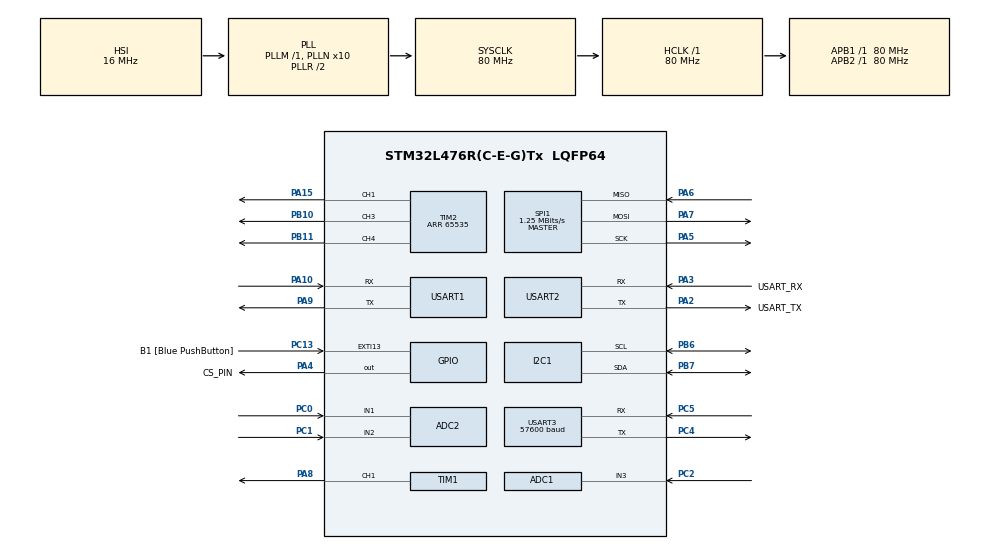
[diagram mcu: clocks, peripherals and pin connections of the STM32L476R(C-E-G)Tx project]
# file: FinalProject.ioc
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ADC1.Channel-0\#ChannelRegularConversion=ADC_CHANNEL_3
ADC1.ClockPrescaler=ADC_CLOCK_ASYNC_DIV256
ADC1.ContinuousConvMode=ENABLE
ADC1.DMAContinuousRequests=ENABLE
ADC1.NbrOfConversionFlag=1
ADC1.OffsetNumber-0\#ChannelRegularConversion=ADC_OFFSET_NONE
ADC1.Overrun=ADC_OVR_DATA_OVERWRITTEN
ADC1.Rank-0\#ChannelRegularConversion=1
ADC1.SamplingTime-0\#ChannelRegularConversion=ADC_SAMPLETIME_2CYCLES_5
ADC1.master=1
ADC2.Channel-0\#ChannelRegularConversion=ADC_CHANNEL_1
ADC2.ClockPrescaler=ADC_CLOCK_ASYNC_DIV256
ADC2.ContinuousConvMode=ENABLE
ADC2.DMAContinuousRequests=ENABLE
ADC2.NbrOfConversionFlag=1
ADC2.OffsetNumber-0\#ChannelRegularConversion=ADC_OFFSET_NONE
ADC2.Overrun=ADC_OVR_DATA_OVERWRITTEN
ADC2.Rank-0\#ChannelRegularConversion=1
ADC2.SamplingTime-0\#ChannelRegularConversion=ADC_SAMPLETIME_2CYCLES_5
ADC2.SingleDiff-0\#ChannelRegularConversion=ADC_DIFFERENTIAL_ENDED
Dma.ADC1.3.Direction=DMA_PERIPH_TO_MEMORY
Dma.ADC1.3.Instance=DMA1_Channel1
Dma.ADC1.3.MemDataAlignment=DMA_MDATAALIGN_HALFWORD
Dma.ADC1.3.MemInc=DMA_MINC_ENABLE
Dma.ADC1.3.Mode=DMA_CIRCULAR
Dma.ADC1.3.PeriphDataAlignment=DMA_PDATAALIGN_HALFWORD
Dma.ADC1.3.PeriphInc=DMA_PINC_DISABLE
Dma.ADC1.3.Priority=DMA_PRIORITY_LOW
Dma.ADC2.2.Direction=DMA_PERIPH_TO_MEMORY
Dma.ADC2.2.Instance=DMA1_Channel2
Dma.ADC2.2.MemDataAlignment=DMA_MDATAALIGN_HALFWORD
Dma.ADC2.2.MemInc=DMA_MINC_ENABLE
Dma.ADC2.2.Mode=DMA_CIRCULAR
Dma.ADC2.2.PeriphDataAlignment=DMA_PDATAALIGN_HALFWORD
Dma.ADC2.2.PeriphInc=DMA_PINC_DISABLE
Dma.ADC2.2.Priority=DMA_PRIORITY_LOW
Dma.Request0=USART1_RX
Dma.Request1=USART3_RX
Dma.Request2=ADC2
Dma.Request3=ADC1
Dma.USART1_RX.0.Direction=DMA_PERIPH_TO_MEMORY
Dma.USART1_RX.0.Instance=DMA1_Channel5
Dma.USART1_RX.0.MemDataAlignment=DMA_MDATAALIGN_BYTE
Dma.USART1_RX.0.MemInc=DMA_MINC_ENABLE
Dma.USART1_RX.0.Mode=DMA_NORMAL
Dma.USART1_RX.0.PeriphDataAlignment=DMA_PDATAALIGN_BYTE
Dma.USART1_RX.0.PeriphInc=DMA_PINC_DISABLE
Dma.USART1_RX.0.Priority=DMA_PRIORITY_LOW
Dma.USART3_RX.1.Direction=DMA_PERIPH_TO_MEMORY
Dma.USART3_RX.1.Instance=DMA1_Channel3
Dma.USART3_RX.1.MemDataAlignment=DMA_MDATAALIGN_BYTE
Dma.USART3_RX.1.MemInc=DMA_MINC_ENABLE
Dma.USART3_RX.1.Mode=DMA_NORMAL
Dma.USART3_RX.1.PeriphDataAlignment=DMA_PDATAALIGN_BYTE
Dma.USART3_RX.1.PeriphInc=DMA_PINC_DISABLE
Dma.USART3_RX.1.Priority=DMA_PRIORITY_LOW
I2C1.Timing=0x10909CEC
Mcu.Family=STM32L4
Mcu.Name=STM32L476R(C-E-G)Tx
Mcu.Package=LQFP64
NVIC.ADC1_2_IRQn=true\:0\:0\:false\:false\:true\:true\:true\:true
NVIC.DMA1_Channel1_IRQn=true\:0\:0\:false\:false\:true\:false\:true\:true
NVIC.DMA1_Channel2_IRQn=true\:0\:0\:false\:false\:true\:false\:true\:true
NVIC.DMA1_Channel3_IRQn=true\:0\:0\:false\:false\:true\:false\:true\:true
NVIC.DMA1_Channel5_IRQn=true\:0\:0\:false\:false\:true\:false\:true\:true
NVIC.I2C1_ER_IRQn=true\:0\:0\:false\:false\:true\:true\:true\:true
NVIC.I2C1_EV_IRQn=true\:0\:0\:false\:false\:true\:true\:true\:true
NVIC.PriorityGroup=NVIC_PRIORITYGROUP_4
NVIC.SPI1_IRQn=true\:0\:0\:false\:false\:true\:true\:true\:true
NVIC.TIM1_BRK_TIM15_IRQn=true\:0\:0\:false\:false\:true\:true\:true\:true
NVIC.TIM1_UP_TIM16_IRQn=true\:0\:0\:false\:false\:true\:true\:true\:true
NVIC.USART1_IRQn=true\:0\:0\:false\:false\:true\:true\:true\:true
NVIC.USART3_IRQn=true\:0\:0\:false\:false\:true\:true\:true\:true
PA10.Mode=Asynchronous
PA10.Signal=USART1_RX
PA13\ (JTMS-SWDIO).GPIO_Label=TMS
PA13\ (JTMS-SWDIO).Mode=Serial_Wire
PA13\ (JTMS-SWDIO).Signal=SYS_JTMS-SWDIO
PA14\ (JTCK-SWCLK).GPIO_Label=TCK
PA14\ (JTCK-SWCLK).Mode=Serial_Wire
PA14\ (JTCK-SWCLK).Signal=SYS_JTCK-SWCLK
PA15\ (JTDI).Signal=S_TIM2_CH1
PA2.GPIO_Label=USART_TX
PA2.GPIO_Mode=GPIO_MODE_AF_PP
PA2.GPIO_PuPd=GPIO_NOPULL
PA2.GPIO_Speed=GPIO_SPEED_FREQ_VERY_HIGH
PA2.Mode=Asynchronous
PA2.Signal=USART2_TX
PA3.GPIO_Label=USART_RX
PA3.GPIO_Mode=GPIO_MODE_AF_PP
PA3.GPIO_PuPd=GPIO_NOPULL
PA3.GPIO_Speed=GPIO_SPEED_FREQ_VERY_HIGH
PA3.Mode=Asynchronous
PA3.Signal=USART2_RX
PA4.GPIO_Label=CS_PIN
PA4.GPIO_Speed=GPIO_SPEED_FREQ_VERY_HIGH
PA4.PinState=GPIO_PIN_SET
PA4.Signal=GPIO_Output
PA5.Mode=Full_Duplex_Master
PA5.Signal=SPI1_SCK
PA6.Mode=Full_Duplex_Master
PA6.Signal=SPI1_MISO
PA7.Mode=Full_Duplex_Master
PA7.Signal=SPI1_MOSI
PA8.Signal=S_TIM1_CH1
PA9.Mode=Asynchronous
PA9.Signal=USART1_TX
PB10.Signal=S_TIM2_CH3
PB11.Signal=S_TIM2_CH4
PB3\ (JTDO-TRACESWO).GPIO_Label=SWO
PB3\ (JTDO-TRACESWO).Signal=SYS_JTDO-SWO
PB6.Mode=I2C
PB6.Signal=I2C1_SCL
PB7.Mode=I2C
PB7.Signal=I2C1_SDA
PC0.Signal=ADCx_IN1
PC1.Signal=ADCx_IN2
PC13.GPIO_Label=B1 [Blue PushButton]
PC13.GPIO_ModeDefaultEXTI=GPIO_MODE_IT_FALLING
PC13.GPIO_PuPd=GPIO_NOPULL
PC13.Signal=GPXTI13
PC14-OSC32_IN\ (PC14).Mode=LSE-External-Oscillator
PC14-OSC32_IN\ (PC14).Signal=RCC_OSC32_IN
PC15-OSC32_OUT\ (PC15).Mode=LSE-External-Oscillator
PC15-OSC32_OUT\ (PC15).Signal=RCC_OSC32_OUT
PC2.Signal=ADCx_IN3
PC4.Mode=Asynchronous
PC4.Signal=USART3_TX
PC5.Mode=Asynchronous
PC5.Signal=USART3_RX
PH0-OSC_IN\ (PH0).Signal=RCC_OSC_IN
PH1-OSC_OUT\ (PH1).Signal=RCC_OSC_OUT
ProjectManager.HeapSize=0x200
ProjectManager.StackSize=0x400
ProjectManager.TargetToolchain=STM32CubeIDE
RCC.ADCFreq_Value=64000000
RCC.AHBFreq_Value=80000000
RCC.APB1Freq_Value=80000000
RCC.APB1TimFreq_Value=80000000
RCC.APB2Freq_Value=80000000
RCC.APB2TimFreq_Value=80000000
RCC.CortexFreq_Value=80000000
RCC.HCLKFreq_Value=80000000
RCC.HSE_VALUE=8000000
RCC.HSI_VALUE=16000000
RCC.MSI_VALUE=4000000
RCC.PLLN=10
RCC.PLLSourceVirtual=RCC_PLLSOURCE_HSI
RCC.PREFETCH_ENABLE=1
RCC.SYSCLKFreq_VALUE=80000000
RCC.SYSCLKSource=RCC_SYSCLKSOURCE_PLLCLK
RCC.USBFreq_Value=64000000
RCC.VCOOutputFreq_Value=160000000
SH.ADCx_IN1.0=ADC2_IN1,IN1-Differential
SH.ADCx_IN2.0=ADC2_IN2,IN1-Differential
SH.ADCx_IN3.0=ADC1_IN3,IN3-Single-Ended
SH.S_TIM1_CH1.0=TIM1_CH1,PWM Generation1 CH1
SH.S_TIM2_CH1.0=TIM2_CH1,PWM Generation1 CH1
SH.S_TIM2_CH3.0=TIM2_CH3,PWM Generation3 CH3
SH.S_TIM2_CH4.0=TIM2_CH4,PWM Generation4 CH4
SPI1.BaudRatePrescaler=SPI_BAUDRATEPRESCALER_64
SPI1.CalculateBaudRate=1.25 MBits/s
SPI1.DataSize=SPI_DATASIZE_8BIT
SPI1.Direction=SPI_DIRECTION_2LINES
SPI1.Mode=SPI_MODE_MASTER
SPI1.VirtualType=VM_MASTER
TIM1.AutoReloadPreload=TIM_AUTORELOAD_PRELOAD_DISABLE
TIM1.Channel-PWM\ Generation1\ CH1=TIM_CHANNEL_1
TIM1.ClockDivision=TIM_CLOCKDIVISION_DIV2
TIM1.Pulse-PWM\ Generation1\ CH1=32767
TIM2.Channel-PWM\ Generation1\ CH1=TIM_CHANNEL_1
TIM2.Channel-PWM\ Generation3\ CH3=TIM_CHANNEL_3
TIM2.Channel-PWM\ Generation4\ CH4=TIM_CHANNEL_4
TIM2.ClockDivision=TIM_CLOCKDIVISION_DIV2
TIM2.OCPolarity_1=TIM_OCPOLARITY_HIGH
TIM2.OCPolarity_3=TIM_OCPOLARITY_HIGH
TIM2.OCPolarity_4=TIM_OCPOLARITY_HIGH
TIM2.Period=65535
TIM2.Pulse-PWM\ Generation3\ CH3=0
TIM2.Pulse-PWM\ Generation4\ CH4=0
USART1.VirtualMode-Asynchronous=VM_ASYNC
USART1.WordLength=WORDLENGTH_8B
USART2.VirtualMode-Asynchronous=VM_ASYNC
USART3.BaudRate=57600
USART3.VirtualMode-Asynchronous=VM_ASYNC
board=NUCLEO-L476RG

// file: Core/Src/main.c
/* USER CODE BEGIN Header */
/**
  ******************************************************************************
  * @file           : main.c
  * @brief          : Main program body
  ******************************************************************************
  * @attention
  *
  * Copyright (c) 2024 STMicroelectronics.
  * All rights reserved.
  *
  * This software is licensed under terms that can be found in the LICENSE file
  * in the root directory of this software component.
  * If no LICENSE file comes with this software, it is provided AS-IS.
  *
  ******************************************************************************
  */
/* USER CODE END Header */
#include "main.h"

/* USER CODE BEGIN Includes */
#include "stuff.h"
#include "string.h"

#include <stdio.h>
#include <stdint.h>
#include <stdlib.h>
#include <stdarg.h>
#include <math.h>
#include "bme68x.h"

#include <sys/time.h>
#include<time.h>
/* USER CODE END Includes */

/* USER CODE BEGIN PD */
int SAMPLE_COUNT = UINT16_C(30);
#define BUS_TIMEOUT             1000
/* USER CODE END PD */

ADC_HandleTypeDef hadc1;
ADC_HandleTypeDef hadc2;
DMA_HandleTypeDef hdma_adc1;
DMA_HandleTypeDef hdma_adc2;

I2C_HandleTypeDef hi2c1;

SPI_HandleTypeDef hspi1;

TIM_HandleTypeDef htim1;
TIM_HandleTypeDef htim2;

UART_HandleTypeDef huart1;
UART_HandleTypeDef huart2;
UART_HandleTypeDef huart3;
DMA_HandleTypeDef hdma_usart1_rx;
DMA_HandleTypeDef hdma_usart3_rx;

void SystemClock_Config(void);
void PeriphCommonClock_Config(void);
static void MX_GPIO_Init(void);
static void MX_DMA_Init(void);
static void MX_USART2_UART_Init(void);
static void MX_USART1_UART_Init(void);
static void MX_USART3_UART_Init(void);
static void MX_I2C1_Init(void);
static void MX_TIM1_Init(void);
static void MX_TIM2_Init(void);
static void MX_ADC2_Init(void);
static void MX_ADC1_Init(void);
static void MX_SPI1_Init(void);
/* USER CODE BEGIN PFP */

// BT Buffer
#define RxBuffSize 1
uint8_t RxBuff[RxBuffSize];

int buffIsFull = 0;
int buffIsEmpty = 1;

#define buffLen 1024
int buffHead = 0;
int buffTail = 0;

char buffer[buffLen];

int push(char data);
char pop();
void get(char arr[], int num);

// ADC Buffers
#define ADC_BUF_LEN 1
uint16_t adc_buf1[ADC_BUF_LEN];
uint16_t adc_buf2[ADC_BUF_LEN];
double batteryVoltage = 0.0;
double SPVoltage = 0.0;
void checkADCReading();

// SENSOR
#define HIGH_GAS 175000.0 //~21 C - 145000.0  | ~24 - 185000 |  ~29 C - 3000000.0
double avgTemp = 0;
double avgGas = 0;
char chBuffer[256];
uint8_t GTXBuffer[512], GRXBuffer[2048];
static uint8_t dev_addr;
void checkGasReading();

void BME688ForceModeRead();
BME68X_INTF_RET_TYPE SensorAPI_I2Cx_Read(uint8_t subaddress, uint8_t *pBuffer, uint32_t ReadNumbr, void *intf_ptr);
BME68X_INTF_RET_TYPE SensorAPI_I2Cx_Write(uint8_t subaddress, uint8_t *pBuffer, uint32_t WriteNumbr, void *intf_ptr);
void DelayUs(uint32_t Delay);
void bme68x_delay_us(uint32_t period, void *intf_ptr);

// PWM
void setDC(TIM_HandleTypeDef *handle, uint8_t CH, uint16_t dc);
void setPeriod(TIM_HandleTypeDef *handle, uint8_t CH, uint16_t period);

// Flash Memory
void flashStateMachine();
void parseCommand();
void parseStoreCommand();
void parseINodeNumber();
enum states state = idle;
uint8_t INodeNumber = 0;
char filename[NAME_LIM];
uint8_t fileType = 255;
uint8_t endOfFile = 0;
uint32_t fileLen = 0;
uint8_t fileIn[1024*4];		// Dynamic memory would be better but kept breaking spi stuff???
struct INode node;
uint8_t *fileReadFromMem;
uint8_t didFileWrite = 0;
uint8_t UARTFlag = 1;
uint8_t lastSaveAlertFlag = 1;
uint8_t saveAlertFlag = 1;
uint8_t batAlertFlag = 0;
uint8_t lastBatAlertFlag = 0;
uint8_t lastSPAlertFlag = 0;
uint8_t SPAlertFlag = 0;

/* USER CODE END PFP */

int main(void)
{

  /* MCU Configuration--------------------------------------------------------*/

  /* Reset of all peripherals, Initializes the Flash interface and the Systick. */
  HAL_Init();

  /* Configure the system clock */
  SystemClock_Config();

/* Configure the peripherals common clocks */
  PeriphCommonClock_Config();

  /* Initialize all configured peripherals */
  MX_GPIO_Init();
  MX_DMA_Init();
  MX_USART2_UART_Init();
  MX_USART1_UART_Init();
  MX_USART3_UART_Init();
  MX_I2C1_Init();
  MX_TIM1_Init();
  MX_TIM2_Init();
  MX_ADC2_Init();
  MX_ADC1_Init();
  MX_SPI1_Init();
  /* USER CODE BEGIN 2 */

  // Set LED period and freq
  setPeriod(&htim2, TIM_CHANNEL_1, 65535);
  setPeriod(&htim2, TIM_CHANNEL_3, 65535);
  setPeriod(&htim2, TIM_CHANNEL_4, 65535);

  setDC(&htim2, TIM_CHANNEL_1, 20000);
  setDC(&htim2, TIM_CHANNEL_3, 20000);
  setDC(&htim2, TIM_CHANNEL_4, 20000);

  // Turn on blue LED during initial readings
  HAL_TIM_PWM_Start(&htim2, TIM_CHANNEL_4);

  // Take 30 readings from the sensor before starting to allow system to stabilize
  BME688ForceModeRead();
  SAMPLE_COUNT = UINT16_C(20);

  // Set buzzer period and frequency
  setDC(&htim1, TIM_CHANNEL_1, 50000);
  setPeriod(&htim1, TIM_CHANNEL_1, 65535);

  // Setup ADCs
  HAL_ADCEx_Calibration_Start(&hadc1, ADC_SINGLE_ENDED);
  HAL_ADC_Start_DMA(&hadc1,(uint32_t*)&adc_buf1,ADC_BUF_LEN);

  HAL_ADCEx_Calibration_Start(&hadc2, ADC_DIFFERENTIAL_ENDED);
  HAL_ADC_Start_DMA(&hadc2,(uint32_t*)&adc_buf2,ADC_BUF_LEN);

  // Turn off blue LED after init
  HAL_TIM_PWM_Stop(&htim2, TIM_CHANNEL_4);
  HAL_Delay(25);

  /* USER CODE END 2 */

  /* Infinite loop */
  /* USER CODE BEGIN WHILE */
  while (1)
  {

	  // Read ADC values
	  batteryVoltage = (adc_buf1[0] / 4095.0) * 3.3 * 2.165; // 2.165 found experimentally by measuring the drop across voltage divider
	  SPVoltage = ((adc_buf2[0] - 2048) / 2048.0) * 3.3;
	  checkADCReading();

	  // Read gas sensor. Check gas readings and file system calls within this function to improve response time
	  BME688ForceModeRead();

    /* USER CODE END WHILE */

  }
}

void SystemClock_Config(void)
{
  RCC_OscInitTypeDef RCC_OscInitStruct = {0};
  RCC_ClkInitTypeDef RCC_ClkInitStruct = {0};

  /** Configure the main internal regulator output voltage
  */
  if (HAL_PWREx_ControlVoltageScaling(PWR_REGULATOR_VOLTAGE_SCALE1) != HAL_OK)
  {
    Error_Handler();
  }

  /** Initializes the RCC Oscillators according to the specified parameters
  * in the RCC_OscInitTypeDef structure.
  */
  RCC_OscInitStruct.OscillatorType = RCC_OSCILLATORTYPE_HSI;
  RCC_OscInitStruct.HSIState = RCC_HSI_ON;
  RCC_OscInitStruct.HSICalibrationValue = RCC_HSICALIBRATION_DEFAULT;
  RCC_OscInitStruct.PLL.PLLState = RCC_PLL_ON;
  RCC_OscInitStruct.PLL.PLLSource = RCC_PLLSOURCE_HSI;
  RCC_OscInitStruct.PLL.PLLM = 1;
  RCC_OscInitStruct.PLL.PLLN = 10;
  RCC_OscInitStruct.PLL.PLLP = RCC_PLLP_DIV7;
  RCC_OscInitStruct.PLL.PLLQ = RCC_PLLQ_DIV2;
  RCC_OscInitStruct.PLL.PLLR = RCC_PLLR_DIV2;
  if (HAL_RCC_OscConfig(&RCC_OscInitStruct) != HAL_OK)
  {
    Error_Handler();
  }

  /** Initializes the CPU, AHB and APB buses clocks
  */
  RCC_ClkInitStruct.ClockType = RCC_CLOCKTYPE_HCLK|RCC_CLOCKTYPE_SYSCLK
                              |RCC_CLOCKTYPE_PCLK1|RCC_CLOCKTYPE_PCLK2;
  RCC_ClkInitStruct.SYSCLKSource = RCC_SYSCLKSOURCE_PLLCLK;
  RCC_ClkInitStruct.AHBCLKDivider = RCC_SYSCLK_DIV1;
  RCC_ClkInitStruct.APB1CLKDivider = RCC_HCLK_DIV1;
  RCC_ClkInitStruct.APB2CLKDivider = RCC_HCLK_DIV1;

  if (HAL_RCC_ClockConfig(&RCC_ClkInitStruct, FLASH_LATENCY_4) != HAL_OK)
  {
    Error_Handler();
  }
}

void PeriphCommonClock_Config(void)
{
  RCC_PeriphCLKInitTypeDef PeriphClkInit = {0};

  /** Initializes the peripherals clock
  */
  PeriphClkInit.PeriphClockSelection = RCC_PERIPHCLK_ADC;
  PeriphClkInit.AdcClockSelection = RCC_ADCCLKSOURCE_PLLSAI1;
  PeriphClkInit.PLLSAI1.PLLSAI1Source = RCC_PLLSOURCE_HSI;
  PeriphClkInit.PLLSAI1.PLLSAI1M = 1;
  PeriphClkInit.PLLSAI1.PLLSAI1N = 8;
  PeriphClkInit.PLLSAI1.PLLSAI1P = RCC_PLLP_DIV7;
  PeriphClkInit.PLLSAI1.PLLSAI1Q = RCC_PLLQ_DIV2;
  PeriphClkInit.PLLSAI1.PLLSAI1R = RCC_PLLR_DIV2;
  PeriphClkInit.PLLSAI1.PLLSAI1ClockOut = RCC_PLLSAI1_ADC1CLK;
  if (HAL_RCCEx_PeriphCLKConfig(&PeriphClkInit) != HAL_OK)
  {
    Error_Handler();
  }
}

static void MX_ADC1_Init(void)
{

  ADC_MultiModeTypeDef multimode = {0};
  ADC_ChannelConfTypeDef sConfig = {0};

  /** Common config
  */
  hadc1.Instance = ADC1;
  hadc1.Init.ClockPrescaler = ADC_CLOCK_ASYNC_DIV256;
  hadc1.Init.Resolution = ADC_RESOLUTION_12B;
  hadc1.Init.DataAlign = ADC_DATAALIGN_RIGHT;
  hadc1.Init.ScanConvMode = ADC_SCAN_DISABLE;
  hadc1.Init.EOCSelection = ADC_EOC_SINGLE_CONV;
  hadc1.Init.LowPowerAutoWait = DISABLE;
  hadc1.Init.ContinuousConvMode = ENABLE;
  hadc1.Init.NbrOfConversion = 1;
  hadc1.Init.DiscontinuousConvMode = DISABLE;
  hadc1.Init.ExternalTrigConv = ADC_SOFTWARE_START;
  hadc1.Init.ExternalTrigConvEdge = ADC_EXTERNALTRIGCONVEDGE_NONE;
  hadc1.Init.DMAContinuousRequests = ENABLE;
  hadc1.Init.Overrun = ADC_OVR_DATA_OVERWRITTEN;
  hadc1.Init.OversamplingMode = DISABLE;
  if (HAL_ADC_Init(&hadc1) != HAL_OK)
  {
    Error_Handler();
  }

  /** Configure the ADC multi-mode
  */
  multimode.Mode = ADC_MODE_INDEPENDENT;
  if (HAL_ADCEx_MultiModeConfigChannel(&hadc1, &multimode) != HAL_OK)
  {
    Error_Handler();
  }

  /** Configure Regular Channel
  */
  sConfig.Channel = ADC_CHANNEL_3;
  sConfig.Rank = ADC_REGULAR_RANK_1;
  sConfig.SamplingTime = ADC_SAMPLETIME_2CYCLES_5;
  sConfig.SingleDiff = ADC_SINGLE_ENDED;
  sConfig.OffsetNumber = ADC_OFFSET_NONE;
  sConfig.Offset = 0;
  if (HAL_ADC_ConfigChannel(&hadc1, &sConfig) != HAL_OK)
  {
    Error_Handler();
  }

}

static void MX_ADC2_Init(void)
{

  ADC_ChannelConfTypeDef sConfig = {0};

  /** Common config
  */
  hadc2.Instance = ADC2;
  hadc2.Init.ClockPrescaler = ADC_CLOCK_ASYNC_DIV256;
  hadc2.Init.Resolution = ADC_RESOLUTION_12B;
  hadc2.Init.DataAlign = ADC_DATAALIGN_RIGHT;
  hadc2.Init.ScanConvMode = ADC_SCAN_DISABLE;
  hadc2.Init.EOCSelection = ADC_EOC_SINGLE_CONV;
  hadc2.Init.LowPowerAutoWait = DISABLE;
  hadc2.Init.ContinuousConvMode = ENABLE;
  hadc2.Init.NbrOfConversion = 1;
  hadc2.Init.DiscontinuousConvMode = DISABLE;
  hadc2.Init.ExternalTrigConv = ADC_SOFTWARE_START;
  hadc2.Init.ExternalTrigConvEdge = ADC_EXTERNALTRIGCONVEDGE_NONE;
  hadc2.Init.DMAContinuousRequests = ENABLE;
  hadc2.Init.Overrun = ADC_OVR_DATA_OVERWRITTEN;
  hadc2.Init.OversamplingMode = DISABLE;
  if (HAL_ADC_Init(&hadc2) != HAL_OK)
  {
    Error_Handler();
  }

  /** Configure Regular Channel
  */
  sConfig.Channel = ADC_CHANNEL_1;
  sConfig.Rank = ADC_REGULAR_RANK_1;
  sConfig.SamplingTime = ADC_SAMPLETIME_2CYCLES_5;
  sConfig.SingleDiff = ADC_DIFFERENTIAL_ENDED;
  sConfig.OffsetNumber = ADC_OFFSET_NONE;
  sConfig.Offset = 0;
  if (HAL_ADC_ConfigChannel(&hadc2, &sConfig) != HAL_OK)
  {
    Error_Handler();
  }

}

static void MX_I2C1_Init(void)
{

  hi2c1.Instance = I2C1;
  hi2c1.Init.Timing = 0x10909CEC;
  hi2c1.Init.OwnAddress1 = 0;
  hi2c1.Init.AddressingMode = I2C_ADDRESSINGMODE_7BIT;
  hi2c1.Init.DualAddressMode = I2C_DUALADDRESS_DISABLE;
  hi2c1.Init.OwnAddress2 = 0;
  hi2c1.Init.OwnAddress2Masks = I2C_OA2_NOMASK;
  hi2c1.Init.GeneralCallMode = I2C_GENERALCALL_DISABLE;
  hi2c1.Init.NoStretchMode = I2C_NOSTRETCH_DISABLE;
  if (HAL_I2C_Init(&hi2c1) != HAL_OK)
  {
    Error_Handler();
  }

  /** Configure Analogue filter
  */
  if (HAL_I2CEx_ConfigAnalogFilter(&hi2c1, I2C_ANALOGFILTER_ENABLE) != HAL_OK)
  {
    Error_Handler();
  }

  /** Configure Digital filter
  */
  if (HAL_I2CEx_ConfigDigitalFilter(&hi2c1, 0) != HAL_OK)
  {
    Error_Handler();
  }

}

static void MX_SPI1_Init(void)
{

  /* SPI1 parameter configuration*/
  hspi1.Instance = SPI1;
  hspi1.Init.Mode = SPI_MODE_MASTER;
  hspi1.Init.Direction = SPI_DIRECTION_2LINES;
  hspi1.Init.DataSize = SPI_DATASIZE_8BIT;
  hspi1.Init.CLKPolarity = SPI_POLARITY_LOW;
  hspi1.Init.CLKPhase = SPI_PHASE_1EDGE;
  hspi1.Init.NSS = SPI_NSS_SOFT;
  hspi1.Init.BaudRatePrescaler = SPI_BAUDRATEPRESCALER_64;
  hspi1.Init.FirstBit = SPI_FIRSTBIT_MSB;
  hspi1.Init.TIMode = SPI_TIMODE_DISABLE;
  hspi1.Init.CRCCalculation = SPI_CRCCALCULATION_DISABLE;
  hspi1.Init.CRCPolynomial = 7;
  hspi1.Init.CRCLength = SPI_CRC_LENGTH_DATASIZE;
  hspi1.Init.NSSPMode = SPI_NSS_PULSE_ENABLE;
  if (HAL_SPI_Init(&hspi1) != HAL_OK)
  {
    Error_Handler();
  }

}

static void MX_TIM1_Init(void)
{

  TIM_MasterConfigTypeDef sMasterConfig = {0};
  TIM_OC_InitTypeDef sConfigOC = {0};
  TIM_BreakDeadTimeConfigTypeDef sBreakDeadTimeConfig = {0};

  htim1.Instance = TIM1;
  htim1.Init.Prescaler = 0;
  htim1.Init.CounterMode = TIM_COUNTERMODE_UP;
  htim1.Init.Period = 65535;
  htim1.Init.ClockDivision = TIM_CLOCKDIVISION_DIV2;
  htim1.Init.RepetitionCounter = 0;
  htim1.Init.AutoReloadPreload = TIM_AUTORELOAD_PRELOAD_DISABLE;
  if (HAL_TIM_PWM_Init(&htim1) != HAL_OK)
  {
    Error_Handler();
  }
  sMasterConfig.MasterOutputTrigger = TIM_TRGO_RESET;
  sMasterConfig.MasterOutputTrigger2 = TIM_TRGO2_RESET;
  sMasterConfig.MasterSlaveMode = TIM_MASTERSLAVEMODE_DISABLE;
  if (HAL_TIMEx_MasterConfigSynchronization(&htim1, &sMasterConfig) != HAL_OK)
  {
    Error_Handler();
  }
  sConfigOC.OCMode = TIM_OCMODE_PWM1;
  sConfigOC.Pulse = 32767;
  sConfigOC.OCPolarity = TIM_OCPOLARITY_HIGH;
  sConfigOC.OCNPolarity = TIM_OCNPOLARITY_HIGH;
  sConfigOC.OCFastMode = TIM_OCFAST_DISABLE;
  sConfigOC.OCIdleState = TIM_OCIDLESTATE_RESET;
  sConfigOC.OCNIdleState = TIM_OCNIDLESTATE_RESET;
  if (HAL_TIM_PWM_ConfigChannel(&htim1, &sConfigOC, TIM_CHANNEL_1) != HAL_OK)
  {
    Error_Handler();
  }
  sBreakDeadTimeConfig.OffStateRunMode = TIM_OSSR_DISABLE;
  sBreakDeadTimeConfig.OffStateIDLEMode = TIM_OSSI_DISABLE;
  sBreakDeadTimeConfig.LockLevel = TIM_LOCKLEVEL_OFF;
  sBreakDeadTimeConfig.DeadTime = 0;
  sBreakDeadTimeConfig.BreakState = TIM_BREAK_DISABLE;
  sBreakDeadTimeConfig.BreakPolarity = TIM_BREAKPOLARITY_HIGH;
  sBreakDeadTimeConfig.BreakFilter = 0;
  sBreakDeadTimeConfig.Break2State = TIM_BREAK2_DISABLE;
  sBreakDeadTimeConfig.Break2Polarity = TIM_BREAK2POLARITY_HIGH;
  sBreakDeadTimeConfig.Break2Filter = 0;
  sBreakDeadTimeConfig.AutomaticOutput = TIM_AUTOMATICOUTPUT_DISABLE;
  if (HAL_TIMEx_ConfigBreakDeadTime(&htim1, &sBreakDeadTimeConfig) != HAL_OK)
  {
    Error_Handler();
  }
  HAL_TIM_MspPostInit(&htim1);

}

static void MX_TIM2_Init(void)
{

  TIM_MasterConfigTypeDef sMasterConfig = {0};
  TIM_OC_InitTypeDef sConfigOC = {0};

  htim2.Instance = TIM2;
  htim2.Init.Prescaler = 0;
  htim2.Init.CounterMode = TIM_COUNTERMODE_UP;
  htim2.Init.Period = 65535;
  htim2.Init.ClockDivision = TIM_CLOCKDIVISION_DIV2;
  htim2.Init.AutoReloadPreload = TIM_AUTORELOAD_PRELOAD_DISABLE;
  if (HAL_TIM_PWM_Init(&htim2) != HAL_OK)
  {
    Error_Handler();
  }
  sMasterConfig.MasterOutputTrigger = TIM_TRGO_RESET;
  sMasterConfig.MasterSlaveMode = TIM_MASTERSLAVEMODE_DISABLE;
  if (HAL_TIMEx_MasterConfigSynchronization(&htim2, &sMasterConfig) != HAL_OK)
  {
    Error_Handler();
  }
  sConfigOC.OCMode = TIM_OCMODE_PWM1;
  sConfigOC.Pulse = 0;
  sConfigOC.OCPolarity = TIM_OCPOLARITY_HIGH;
  sConfigOC.OCFastMode = TIM_OCFAST_DISABLE;
  if (HAL_TIM_PWM_ConfigChannel(&htim2, &sConfigOC, TIM_CHANNEL_1) != HAL_OK)
  {
    Error_Handler();
  }
  if (HAL_TIM_PWM_ConfigChannel(&htim2, &sConfigOC, TIM_CHANNEL_3) != HAL_OK)
  {
    Error_Handler();
  }
  if (HAL_TIM_PWM_ConfigChannel(&htim2, &sConfigOC, TIM_CHANNEL_4) != HAL_OK)
  {
    Error_Handler();
  }
  HAL_TIM_MspPostInit(&htim2);

}

static void MX_USART1_UART_Init(void)
{

  huart1.Instance = USART1;
  huart1.Init.BaudRate = 115200;
  huart1.Init.WordLength = UART_WORDLENGTH_8B;
  huart1.Init.StopBits = UART_STOPBITS_1;
  huart1.Init.Parity = UART_PARITY_NONE;
  huart1.Init.Mode = UART_MODE_TX_RX;
  huart1.Init.HwFlowCtl = UART_HWCONTROL_NONE;
  huart1.Init.OverSampling = UART_OVERSAMPLING_16;
  huart1.Init.OneBitSampling = UART_ONE_BIT_SAMPLE_DISABLE;
  huart1.AdvancedInit.AdvFeatureInit = UART_ADVFEATURE_NO_INIT;
  if (HAL_UART_Init(&huart1) != HAL_OK)
  {
    Error_Handler();
  }
  /* USER CODE BEGIN USART1_Init 2 */
  HAL_UARTEx_ReceiveToIdle_DMA(&huart1, (uint8_t *) RxBuff, RxBuffSize);
  /* USER CODE END USART1_Init 2 */

}

static void MX_USART2_UART_Init(void)
{

  huart2.Instance = USART2;
  huart2.Init.BaudRate = 115200;
  huart2.Init.WordLength = UART_WORDLENGTH_8B;
  huart2.Init.StopBits = UART_STOPBITS_1;
  huart2.Init.Parity = UART_PARITY_NONE;
  huart2.Init.Mode = UART_MODE_TX_RX;
  huart2.Init.HwFlowCtl = UART_HWCONTROL_NONE;
  huart2.Init.OverSampling = UART_OVERSAMPLING_16;
  huart2.Init.OneBitSampling = UART_ONE_BIT_SAMPLE_DISABLE;
  huart2.AdvancedInit.AdvFeatureInit = UART_ADVFEATURE_NO_INIT;
  if (HAL_UART_Init(&huart2) != HAL_OK)
  {
    Error_Handler();
  }

}

static void MX_USART3_UART_Init(void)
{

  huart3.Instance = USART3;
  huart3.Init.BaudRate = 57600;
  huart3.Init.WordLength = UART_WORDLENGTH_8B;
  huart3.Init.StopBits = UART_STOPBITS_1;
  huart3.Init.Parity = UART_PARITY_NONE;
  huart3.Init.Mode = UART_MODE_TX_RX;
  huart3.Init.HwFlowCtl = UART_HWCONTROL_NONE;
  huart3.Init.OverSampling = UART_OVERSAMPLING_16;
  huart3.Init.OneBitSampling = UART_ONE_BIT_SAMPLE_DISABLE;
  huart3.AdvancedInit.AdvFeatureInit = UART_ADVFEATURE_NO_INIT;
  if (HAL_UART_Init(&huart3) != HAL_OK)
  {
    Error_Handler();
  }
  /* USER CODE BEGIN USART3_Init 2 */
  HAL_UARTEx_ReceiveToIdle_DMA(&huart3, (uint8_t *) RxBuff, RxBuffSize);
  /* USER CODE END USART3_Init 2 */

}

static void MX_DMA_Init(void)
{

  /* DMA controller clock enable */
  __HAL_RCC_DMA1_CLK_ENABLE();

  /* DMA interrupt init */
  /* DMA1_Channel1_IRQn interrupt configuration */
  HAL_NVIC_SetPriority(DMA1_Channel1_IRQn, 0, 0);
  HAL_NVIC_EnableIRQ(DMA1_Channel1_IRQn);
  /* DMA1_Channel2_IRQn interrupt configuration */
  HAL_NVIC_SetPriority(DMA1_Channel2_IRQn, 0, 0);
  HAL_NVIC_EnableIRQ(DMA1_Channel2_IRQn);
  /* DMA1_Channel3_IRQn interrupt configuration */
  HAL_NVIC_SetPriority(DMA1_Channel3_IRQn, 0, 0);
  HAL_NVIC_EnableIRQ(DMA1_Channel3_IRQn);
  /* DMA1_Channel5_IRQn interrupt configuration */
  HAL_NVIC_SetPriority(DMA1_Channel5_IRQn, 0, 0);
  HAL_NVIC_EnableIRQ(DMA1_Channel5_IRQn);

}

static void MX_GPIO_Init(void)
{
  GPIO_InitTypeDef GPIO_InitStruct = {0};

  /* GPIO Ports Clock Enable */
  __HAL_RCC_GPIOC_CLK_ENABLE();
  __HAL_RCC_GPIOH_CLK_ENABLE();
  __HAL_RCC_GPIOA_CLK_ENABLE();
  __HAL_RCC_GPIOB_CLK_ENABLE();

  /*Configure GPIO pin Output Level */
  HAL_GPIO_WritePin(CS_PIN_GPIO_Port, CS_PIN_Pin, GPIO_PIN_SET);

  /*Configure GPIO pin : B1_Pin */
  GPIO_InitStruct.Pin = B1_Pin;
  GPIO_InitStruct.Mode = GPIO_MODE_IT_FALLING;
  GPIO_InitStruct.Pull = GPIO_NOPULL;
  HAL_GPIO_Init(B1_GPIO_Port, &GPIO_InitStruct);

  /*Configure GPIO pin : CS_PIN_Pin */
  GPIO_InitStruct.Pin = CS_PIN_Pin;
  GPIO_InitStruct.Mode = GPIO_MODE_OUTPUT_PP;
  GPIO_InitStruct.Pull = GPIO_NOPULL;
  GPIO_InitStruct.Speed = GPIO_SPEED_FREQ_VERY_HIGH;
  HAL_GPIO_Init(CS_PIN_GPIO_Port, &GPIO_InitStruct);

}

/* USER CODE BEGIN 4 */
void HAL_UARTEx_RxEventCallback(UART_HandleTypeDef *huart, uint16_t Size)
{
	if (huart->Instance == USART3) {
		if (RxBuff[0] != '\0') {
			push(RxBuff[0]);
			UARTFlag = 0;
		}
		/* start the DMA again */
		RxBuff[0] = '\0';
		HAL_UARTEx_ReceiveToIdle_DMA(&huart3, (uint8_t *) RxBuff, RxBuffSize);
		__HAL_DMA_DISABLE_IT(&hdma_usart3_rx, DMA_IT_HT);
	}

	else if (huart->Instance == USART1) {
		if (RxBuff[0] != '\0') {
			push(RxBuff[0]);
			UARTFlag = 1;
		}
		/* start the DMA again */
		RxBuff[0] = '\0';
		HAL_UARTEx_ReceiveToIdle_DMA(&huart1, (uint8_t *) RxBuff, RxBuffSize);
		__HAL_DMA_DISABLE_IT(&hdma_usart3_rx, DMA_IT_HT);
	}
}

int push(char data) {

    if (buffIsFull) {                                               // If the buffer is full
        return 0;
    }

    buffer[buffHead] = data;

    buffHead++;

    if (buffHead == buffLen) {                                          // Wrap back to 0 if buffer is at last index
        buffHead = 0;
    }

    if ((buffHead + 1) % buffLen == buffTail) {                             // Check if buffHead has reached buffTail
        buffIsFull = 1;
    }

    buffIsEmpty = 0;
    return 1;
}

void get(char arr[], int num) {
	int tempTail = buffTail;
	int tempbuffHead = buffHead;
	int tempBuffIsEmpty = buffIsEmpty;

	memset(arr, '\0', num);

	for (int i = 0; i < num; i++) {
		// 1.) Make sure buffTail is valid
		if (tempBuffIsEmpty) {
			return;
		}

		// 2.) Add byte to str
		arr[i] = buffer[tempTail];
		tempTail++;

		// 3.) check new buffTail position
		if (tempTail == buffLen) {
			tempTail = 0;
		}
		if (tempbuffHead == tempTail) {         							// If buffTail has reached buffHead
			tempBuffIsEmpty = 1;
		}
	}
}

char pop() {
	char data;
    int tempbuffHead = buffHead;                                       		// Save copy and use this in case buffHead changes

	// 1.) Make sure buffTail is valid
	if (buffIsEmpty) {
		return '\0';
	}

	// 2.) Add byte to str
	data = buffer[buffTail];
	buffTail++;

	// 3.) check new buffTail position
	if (buffTail == buffLen) {
		buffTail = 0;
	}
	if (tempbuffHead == buffTail) {         								// If buffTail has reached buffHead
		buffIsEmpty = 1;
	}

    return data;
}

/* SENSOR FUNCTIONS */
int8_t bme68x_interface_init(struct bme68x_dev *bme, uint8_t intf)
{
	int8_t rslt = BME68X_OK;

	if (bme != NULL)
	{
		//PDEBUG("I2C Interface\r\n");
		dev_addr = BME68X_I2C_ADDR_HIGH;
		bme->read = SensorAPI_I2Cx_Read;
		bme->write = SensorAPI_I2Cx_Write;
		bme->intf = BME68X_I2C_INTF;

		bme->delay_us = bme68x_delay_us;
		bme->intf_ptr = &dev_addr;
		bme->amb_temp = 25; /* The ambient temperature in deg C is used for defining the heater temperature */
	}
	else
	{
		rslt = BME68X_E_NULL_PTR;
	}

    return rslt;
}

void BME688ForceModeRead()
{
	struct bme68x_dev bme;
	int8_t rslt;
	struct bme68x_conf conf;
	struct bme68x_heatr_conf heatr_conf;
	struct bme68x_data data;
	uint32_t del_period;
	uint32_t time_ms = 0;
	uint8_t n_fields;
	uint16_t sample_count = 1;

	avgGas = 0;
	avgTemp = 0;

	/* Interface preference is updated as a parameter
	 * For I2C : BME68X_I2C_INTF
	 * For SPI : BME68X_SPI_INTF
	 */
	rslt = bme68x_interface_init(&bme, BME68X_I2C_INTF);

	bme68x_soft_reset(&bme);
	bme.delay_us(10, bme.intf_ptr);

	rslt = bme68x_init(&bme);

	/* Check if rslt == BME68X_OK, report or handle if otherwise */
	conf.filter = BME68X_FILTER_OFF;
	conf.odr = BME68X_ODR_NONE;
	conf.os_hum = BME68X_OS_16X;
	conf.os_pres = BME68X_OS_1X;
	conf.os_temp = BME68X_OS_2X;
	rslt = bme68x_set_conf(&conf, &bme);

	/* Check if rslt == BME68X_OK, report or handle if otherwise */
	heatr_conf.enable = BME68X_ENABLE;
	heatr_conf.heatr_temp = 300;
	heatr_conf.heatr_dur = 100;
	rslt = bme68x_set_heatr_conf(BME68X_FORCED_MODE, &heatr_conf, &bme);

	while (sample_count <= SAMPLE_COUNT)
	{
		rslt = bme68x_set_op_mode(BME68X_FORCED_MODE, &bme);

		/* Calculate delay period in microseconds */
		del_period = bme68x_get_meas_dur(BME68X_FORCED_MODE, &conf, &bme) + (heatr_conf.heatr_dur * 1000);
		bme.delay_us(del_period, bme.intf_ptr);

		/* Check if rslt == BME68X_OK, report or handle if otherwise */
		rslt = bme68x_get_data(BME68X_FORCED_MODE, &data, &n_fields, &bme);

		if (n_fields)
		{
			avgTemp += data.temperature;
			avgGas += data.gas_resistance;

			sample_count++;
		}

		// If we are past the initial sampling check the gas level
		if (SAMPLE_COUNT != 30 && sample_count % 3 == 0) {
			// First sensor readings are always bad. needs time to heat up so ingore them
			if (sample_count == 3) {
				avgTemp = 0.0;
				avgGas = 0.0;
				continue;
			}

			sprintf(chBuffer, "TEMPERATURE: %.2f Deg C\t\tGAS RESISTANCE: %.2f Ohm\r\n",
							  data.temperature,
							  data.gas_resistance);
			HAL_UART_Transmit(&huart3, chBuffer, strlen(chBuffer), BUS_TIMEOUT);

			avgTemp = avgTemp / 3.0;
			avgGas = avgGas / 3.0;

			checkGasReading();

			avgTemp = 0;
			avgGas = 0;
		}
//		if (sample_count % 2 == 0) {
		flashStateMachine();
//		}
	}

}

BME68X_INTF_RET_TYPE SensorAPI_I2Cx_Read(uint8_t subaddress, uint8_t *pBuffer, uint32_t ReadNumbr, void *intf_ptr)
{
	uint8_t dev_addr = *(uint8_t*)intf_ptr;
	uint16_t DevAddress = dev_addr << 1;

	// send register address
	HAL_I2C_Master_Transmit(&hi2c1, DevAddress, &subaddress, 1, BUS_TIMEOUT);
	HAL_I2C_Master_Receive(&hi2c1, DevAddress, pBuffer, ReadNumbr, BUS_TIMEOUT);
	return 0;
}

BME68X_INTF_RET_TYPE SensorAPI_I2Cx_Write(uint8_t subaddress, uint8_t *pBuffer, uint32_t WriteNumbr, void *intf_ptr)
{
	uint8_t dev_addr = *(uint8_t*)intf_ptr;
	uint16_t DevAddress = dev_addr << 1;

	GTXBuffer[0] = subaddress;
	memcpy(&GTXBuffer[1], pBuffer, WriteNumbr);

	// send register address
	HAL_I2C_Master_Transmit(&hi2c1, DevAddress, GTXBuffer, WriteNumbr+1, BUS_TIMEOUT);
	return 0;
}

void DelayUs(uint32_t Delay)
{
	uint32_t i;

	while(Delay--)
	{
		for(i = 0; i < 84; i++)
		{
			;
		}
	}
}

void bme68x_delay_us(uint32_t period, void *intf_ptr)
{
	uint32_t i;

	while(period--)
	{
		for(i = 0; i < 84; i++)
		{
			;
		}
	}
}

void checkGasReading() {
	static uint8_t hysteresis = 0;

	// Check gas reading and ADC values
	if (avgGas <= HIGH_GAS) {
	  lastSaveAlertFlag = saveAlertFlag;
	  saveAlertFlag += 1;

	  // Save a single alert file for each instance of a high gas level
	  if (lastSaveAlertFlag == 1 && saveAlertFlag == 2) {

		  // Turn on Buzzer
		  HAL_TIM_PWM_Start(&htim1, TIM_CHANNEL_1);

		  // Turn on red LED
		  HAL_TIM_PWM_Start(&htim2, TIM_CHANNEL_1);

		  // Turn off green LED
		  HAL_TIM_PWM_Stop(&htim2, TIM_CHANNEL_3);

		  HAL_UART_Transmit(&huart1, "High Gas Level Detected!\n", 25, BUS_TIMEOUT);
		  HAL_UART_Transmit(&huart3, "High Gas Level Detected!\n", 25, BUS_TIMEOUT);

		  time_t t = HAL_GetTick() / 1000;

		  struct tm tm = *localtime(&t);

		  sprintf(chBuffer, "%d-%d-%d %d:%d:%d", tm.tm_year + 1900, tm.tm_mon + 1, tm.tm_mday,
												 tm.tm_hour, tm.tm_min, tm.tm_sec);

		  sprintf(fileIn, "High gas level detected at %s\nTemperature: %.2lf\nGas reistance: %.2lf\n", chBuffer, avgTemp, avgGas);
		  fileLen = strlen(fileIn);
		  sprintf(filename, "Alert_%s", chBuffer);

		  didFileWrite = writeFile(fileIn, fileLen, filename, 1);

		  // If the file failed to write try again
		  if (didFileWrite == 0) {
			  writeFile(fileIn, fileLen, filename, fileType);
		  }

		}

	  }
	  else {
		  hysteresis += 1;
		  // Must have two consecutive normal readings to remove warning
		  if (hysteresis >= 2) {
			  // Avoid overflow error
			  hysteresis -= 1;
			  lastSaveAlertFlag = 0;
			  saveAlertFlag = 0;
			  // Stop the buzzer
			  HAL_TIM_PWM_Stop(&htim1, TIM_CHANNEL_1);

			  // Turn off red LED
			  HAL_TIM_PWM_Stop(&htim2, TIM_CHANNEL_1);

			  // Turn on green LED
			  HAL_TIM_PWM_Start(&htim2, TIM_CHANNEL_3);

		  }
	  }
}

void checkADCReading() {
	if (batteryVoltage < 3.600) {
		if (batAlertFlag == 1 && lastBatAlertFlag == 1) {
			// do nothing
		}
		else {
			lastBatAlertFlag = batAlertFlag;
			batAlertFlag = 1;
			HAL_UART_Transmit(&huart1, "Low battery voltage detected!\n", 30, BUS_TIMEOUT);
			HAL_UART_Transmit(&huart3, "Low battery voltage detected!\n", 30, BUS_TIMEOUT);
		}
	}
	else {
		lastBatAlertFlag = 0;
		batAlertFlag = 0;
	}

	if (SPVoltage < 200) {
		if (SPAlertFlag == 1 && lastSPAlertFlag == 1)
			return;

		lastSPAlertFlag = SPAlertFlag;
		SPAlertFlag = 1;

		HAL_UART_Transmit(&huart1, "Low solar panel voltage!\n", 25, BUS_TIMEOUT);
		HAL_UART_Transmit(&huart3, "Low solar panel voltage!\n", 25, BUS_TIMEOUT);
	}
	else {
		lastSPAlertFlag = 0;
		SPAlertFlag = 0;
	}

}

// PWM functions
void setDC(TIM_HandleTypeDef *handle, uint8_t CH, uint16_t dc) {
	TIM_OC_InitTypeDef sConfigOC = {0};

	sConfigOC.OCMode = TIM_OCMODE_PWM1;
	sConfigOC.Pulse = dc;
	sConfigOC.OCPolarity = TIM_OCPOLARITY_HIGH;
	sConfigOC.OCNPolarity = TIM_OCNPOLARITY_HIGH;
	sConfigOC.OCFastMode = TIM_OCFAST_DISABLE;
	sConfigOC.OCIdleState = TIM_OCIDLESTATE_RESET;
	sConfigOC.OCNIdleState = TIM_OCNIDLESTATE_RESET;
	if (HAL_TIM_PWM_ConfigChannel(handle, &sConfigOC, TIM_CHANNEL_1) != HAL_OK)
	{
	Error_Handler();
	}
}
void setPeriod(TIM_HandleTypeDef *handle, uint8_t CH, uint16_t period) {
	(*handle).Init.Period = period;

	if (HAL_TIM_PWM_Init(handle) != HAL_OK)
	{
	Error_Handler();
	}
}

// FLASH MEMORY FUNCTIONS
void flashStateMachine() {

	for (int i = 0; i < 25; i++) {
		HAL_Delay(20);

		switch (state) {
			 case idle:
				 parseCommand();
				 break;

			 case store:
				 parseStoreCommand();

				 if (fileType != 1) {
					 state = idle;
					 HAL_UART_Transmit((UARTFlag) ? &huart1 : &huart3, "\n>", 2, 1);
					 break;
				 }

				 // TODO : If in here for too long, go back to idle and free buffer

				 didFileWrite = writeFile(fileIn, fileLen, filename, fileType);

				 if (didFileWrite == 1) {
					 HAL_UART_Transmit((UARTFlag) ? &huart1 : &huart3, "Wrote file successfully\n", 24, 100);
				 }
				 else {
					 HAL_UART_Transmit((UARTFlag) ? &huart1 : &huart3, "Failed to Write file\n", 21, 100);
				 }

				 state = idle;
				 HAL_UART_Transmit((UARTFlag) ? &huart1 : &huart3, "\n>", 2, 1);

				 break;

			 case dir:
				getDir();
				state = idle;
				HAL_UART_Transmit((UARTFlag) ? &huart1 : &huart3, "\n>", 2, 1);
				break;

			 case mem:
				 profileMemory();
				 state = idle;
				 HAL_UART_Transmit((UARTFlag) ? &huart1 : &huart3, "\n>", 2, 1);
				 break;

			 case del:
				 parseINodeNumber();

				 if (INodeNumber != 0) {

					 if (deleteINode(INodeNumber)) {
						 HAL_UART_Transmit((UARTFlag) ? &huart1 : &huart3, "File has been deleted\n", 22, 100);
					 }
					 else {
						 HAL_UART_Transmit((UARTFlag) ? &huart1 : &huart3, "Failed to find INode\n", 21, 100);
					 }
					 state = idle;
					 HAL_UART_Transmit((UARTFlag) ? &huart1 : &huart3, "\n>", 2, 1);

					 INodeNumber = 0;
				 }
				 else {
					 state = idle;
				 }

				 break;

			 case read:
				 parseINodeNumber();

				 if (INodeNumber != 0) {

					 if (getINode(INodeNumber, &node)) {
						 fileReadFromMem = readFile(node);
						 HAL_UART_Transmit((UARTFlag) ? &huart1 : &huart3, fileReadFromMem, node.fileSize, 10000);
						 free(fileReadFromMem);
						 HAL_UART_Transmit((UARTFlag) ? &huart1 : &huart3, "\n", 1, 100);
					 }
					 else {
						 HAL_UART_Transmit((UARTFlag) ? &huart1 : &huart3, "Failed to read file\n", 20, 100);
					 }
					 state = idle;
					 HAL_UART_Transmit((UARTFlag) ? &huart1 : &huart3, "\n>", 2, 1);

					 INodeNumber = 0;
				 }
				 else {
					 state = idle;
				 }
				 break;

			 case clear:
				if (chipErase()) {
					if (SetupFilesystem()) {
						HAL_UART_Transmit((UARTFlag) ? &huart1 : &huart3, "Memory has been cleared\n", 24, 100);
					}
					else {
						HAL_UART_Transmit((UARTFlag) ? &huart1 : &huart3, "Failed to initialize file system\n", 33, 100);
					}

				}
				else {
					HAL_UART_Transmit((UARTFlag) ? &huart1 : &huart3, "Failed to clear memory\n", 23, 100);
				}
				state = idle;

				HAL_UART_Transmit((UARTFlag) ? &huart1 : &huart3, "\n>", 2, 1);

				break;
		 }
	}
}

void parseCommand() {
	char trash;

	/* Check if a command was entered - read length of longest command*/
	char temp[10];
	get(temp, 10);

	// If the buffer does not have enough chars for a command yet
	if (strlen(temp) < 3) {
		return;
	}

	if (strncmp(temp, "store", 5) == 0) {
		state = store;
		memset(filename, 0, NAME_LIM);
		fileType = 255;
		endOfFile = 0;
		fileLen = 0;
		for (int i = 0; i < 6; i++) pop();

	}
	else if (strncmp(temp, "dir", 3) == 0) {
		state = dir;
		for (int i = 0; i < 3; i++) pop();
	}

	else if (strncmp(temp, "mem", 3) == 0) {
		state = mem;
		for (int i = 0; i < 3; i++) pop();
	}

	else if (strncmp(temp, "delete", 6) == 0) {
		state = del;
		for (int i = 0; i < 6; i++) pop();
	}

	else if (strncmp(temp, "read", 4) == 0) {
		INodeNumber = 0;
		state = read;
		for (int i = 0; i < 4; i++) pop();
	}

	else if (strncmp(temp, "clear", 5) == 0) {
		state = clear;
		for (int i = 0; i < 5; i++) pop();
	}

	// If no good command was read, advance the tail by popping once
	else {
		trash = pop();
	}
}

void parseStoreCommand() {
	int waitCount = 0;
	int i = 0;
	int flag = 0;
	char type[4] = {'\0'};
	memset(filename, '\0', NAME_LIM);

	/* Parse filename */
	while (waitCount < 250) {
		filename[i] = pop();

		if (filename[i] == '\0'){
			waitCount++;
			HAL_Delay(1);
			continue;
		}

		if (filename[i] == '.') {
			filename[i] = '\0';
			break;
		}
		if (i >= NAME_LIM) {
			HAL_UART_Transmit((UARTFlag) ? &huart1 : &huart3, "Unable to parse file name\n", 26, 100);
			flag = 1;
			break;
		}
		i++;
	}

	if (waitCount == 250) {
		flag = 1;
		HAL_UART_Transmit((UARTFlag) ? &huart1 : &huart3, "Unable to parse file name\n", 26, 100);
	}

	/* Check file type */
	waitCount = 0;
	for (i = 0; i < 3; i++) {
		type[i] = pop();

		if (type[i] == '\0') {
			waitCount++;
			HAL_Delay(1);
			if (waitCount > 100) {
				break;
			}
			i--;
		}

	}

	if (strcmp(type, "txt") != 0 && flag == 0) {
		HAL_UART_Transmit((UARTFlag) ? &huart1 : &huart3, "Unable to parse file type\n", 26, 100);
		flag = 1;
	}

	// If parsing the filename or file type failed
	if (flag) {
		HAL_Delay(250);
		buffTail = buffHead;
		fileType = 0xFF;
		return;
	}

	fileType = 1;
	memset(fileIn, '\0', 1024*4);

	/* Read file contents */
	i = 0;
	char temp;
	waitCount = 0;

	while (i < 1024*4) {
		temp = pop();
		if (temp == '\0') {
			HAL_Delay(1);
			waitCount++;
			if (waitCount > 2500) {
				fileType = 0xFF;
				return;
			}
			continue;
		}

		if (temp == 0x04) {
			fileLen = i;
			endOfFile = 1;
			break;
		}

		fileIn[i] = temp;
		i++;
	}
}

void parseINodeNumber() {
	pop(); // get rid of space
	char num[4] = {'\0'};
	num[0] = pop();
	num[1] = pop();
	num[2] = pop();

	/* Read in the file number to read from mem */
	if (atoi(num) > 0 && atoi(num) < MAX_INODES) {
		INodeNumber = atoi(num);
	}
	else {
		state = idle;
		INodeNumber = 0;
		HAL_UART_Transmit((UARTFlag) ? &huart1 : &huart3, "Unable to parse file number\n", 28, 100);
		HAL_UART_Transmit((UARTFlag) ? &huart1 : &huart3, "\n>", 2, 1);
	}
}

/* USER CODE END 4 */

void Error_Handler(void)
{
  __disable_irq();
  while (1)
  {
  }
}
